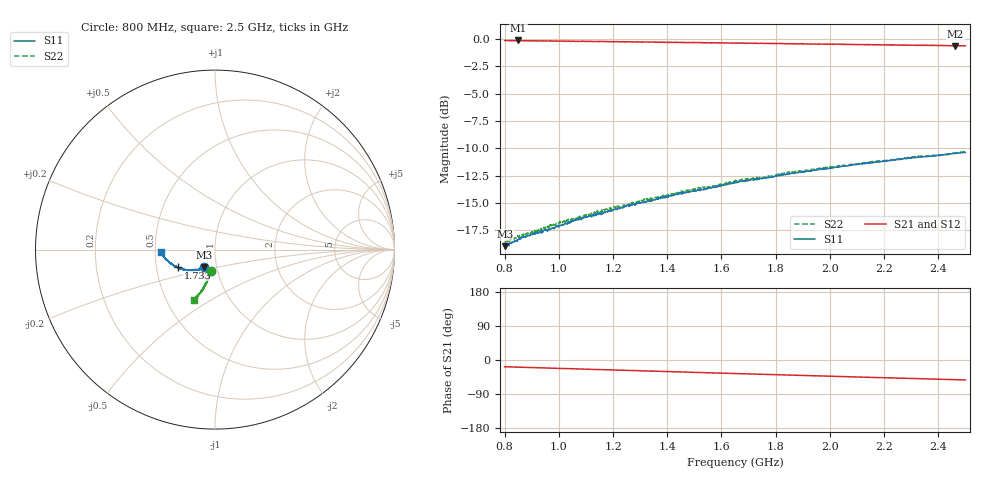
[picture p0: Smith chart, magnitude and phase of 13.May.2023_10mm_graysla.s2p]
!Keysight Technologies N9950B: A.12.38
!Date: Saturday, 13 May 2023 13:05:08
!Timezone: (UTC-06:00) Central Time (US & Canada)
!Model: N9950B
!Serial: MY61131330
!GPS Latitude:
!GPS Longitude:
!GPS TimeStamp: 0001-01-01 00:00:00Z
!GPS Seconds Since Last Read: 0
!CHECKSUM:0347534235
!Correction: S11(ON U)S21(ON U)S12(ON U)S22(ON U)
!S2P File: Measurements:S11,S21,S12,S22:
# Hz S DB R 50
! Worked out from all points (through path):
!   1001 points, 800 MHz to 2.5 GHz, reference 50 ohm
!   highest |S21| = -0.15 dB at 851 MHz (marker M1); lowest = -0.7 dB at 2.463 GHz (marker M2)
!   group delay of S21, straight-line fit = 57 ps
!   lowest |S11| = -18.9 dB at 801.7 MHz (marker M3), VSWR 1.25, Z = 43.7 - j8.53 ohm
!   |S11| at or under -10 dB: start of sweep to end of sweep
!   |S22| runs from -18.6 to -10.3 dB; largest |S21 - S12| = 0.0058
!   S11 on the Smith chart (normalised r, x): 800 MHz: 0.87, -0.17; 1.733 GHz: 0.65, -0.14; 2.5 GHz: 0.54, -0.02
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8e8  -18.90 -121.7  -0.16 -17.8  -0.18 -17.8  -18.49 -100.4
8.017e8  -18.94 -121.4  -0.15 -17.8  -0.17 -17.8  -18.50 -99.9
8.51e8  -18.32 -123.0  -0.15 -18.9  -0.19 -18.9  -18.06 -100.0
8.663e8  -18.06 -123.7  -0.17 -19.2  -0.20 -19.2  -17.94 -99.7
9.768e8  -17.28 -128.4  -0.21 -21.5  -0.20 -21.6  -16.86 -101.2
1.0839e9  -16.46 -131.3  -0.24 -23.8  -0.25 -23.8  -16.27 -102.1
1.1383e9  -16.14 -134.9  -0.25 -25.0  -0.25 -25.0  -15.73 -102.4
1.2488e9  -15.33 -138.0  -0.27 -27.3  -0.29 -27.2  -15.22 -103.3
1.3151e9  -14.94 -139.5  -0.30 -28.8  -0.30 -28.7  -14.60 -104.0
1.3678e9  -14.64 -141.4  -0.32 -29.8  -0.33 -29.8  -14.46 -103.7
1.5055e9  -13.93 -145.9  -0.34 -32.7  -0.38 -32.8  -13.71 -105.2
1.5684e9  -13.59 -148.1  -0.36 -34.1  -0.39 -34.0  -13.48 -106.0
1.65e9  -13.15 -151.5  -0.39 -35.7  -0.39 -35.6  -13.00 -106.9
1.7333e9  -12.82 -154.2  -0.41 -37.3  -0.43 -37.3  -12.74 -106.6
1.8404e9  -12.31 -157.1  -0.45 -39.5  -0.45 -39.5  -12.23 -108.3
1.9339e9  -12.03 -160.7  -0.48 -41.4  -0.49 -41.5  -11.94 -109.0
2.0478e9  -11.63 -163.1  -0.50 -43.8  -0.52 -43.8  -11.61 -109.9
2.1379e9  -11.32 -166.9  -0.54 -45.5  -0.55 -45.5  -11.30 -110.5
2.2178e9  -11.15 -168.6  -0.57 -47.2  -0.57 -47.1  -11.08 -111.0
2.3623e9  -10.77 -173.1  -0.60 -49.9  -0.62 -50.0  -10.68 -111.8
2.4626e9  -10.48 -176.2  -0.65 -51.8  -0.66 -51.9  -10.43 -113.4
2.5e9  -10.39 -177.4  -0.64 -52.8  -0.66 -52.6  -10.33 -113.2
